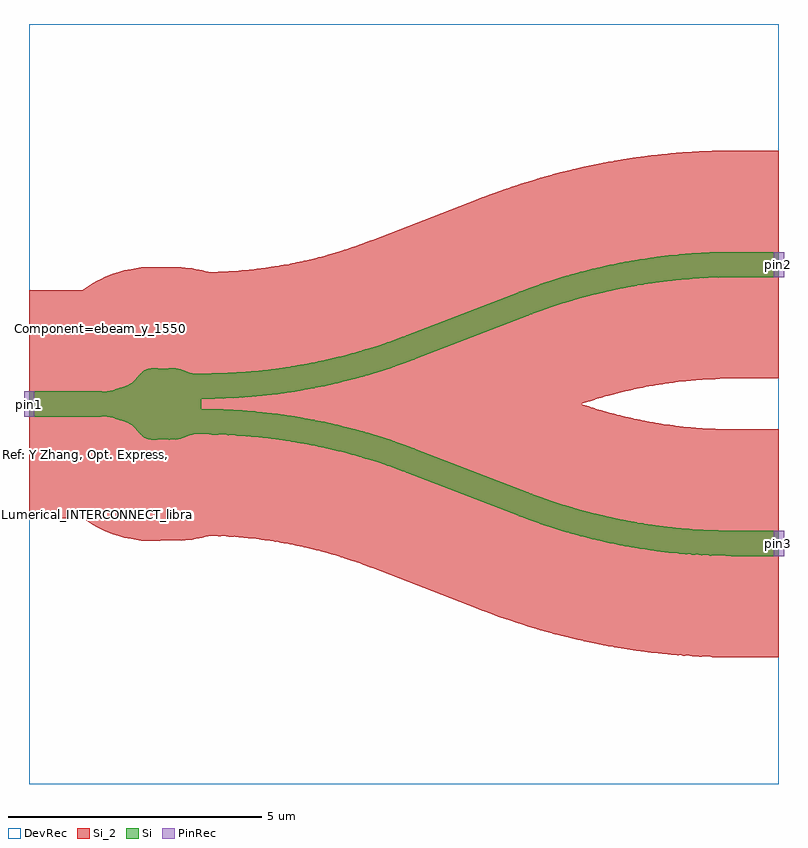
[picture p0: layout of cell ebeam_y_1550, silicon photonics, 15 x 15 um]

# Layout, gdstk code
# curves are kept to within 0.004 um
import gdstk
lib = gdstk.Library(unit=1e-6, precision=1e-09)
def R(c, l, rs):  # rectangles x0, y0, x1, y1
    for r in rs: c.add(gdstk.rectangle(r[:2], r[2:], *l))
def P(c, l, *ps):  # polygons
    for p in ps: c.add(gdstk.Polygon(p, *l))
Si = (1, 0)
Si_2 = (1, 2)
PinRec = (1, 10)
DevRec = (68, 0)

ebeam_y_1550 = lib.new_cell('ebeam_y_1550')
P(ebeam_y_1550, Si, [(6.458,-3),(6.065,-2.992),(5.718,-2.974),(5.406,-2.949),(4.993,-2.903),(4.653,-2.854),(4.257,-2.784),(3.875,-2.703),(3.509,-2.613),(3.017,-2.472),(2.491,-2.295),(0.055,-1.356),(-0.369,-1.202),(-0.762,-1.076),(-1.123,-0.974),(-1.458,-0.891),(-1.826,-0.812),(-2.243,-0.738),(-2.677,-0.678),(-3.125,-0.634),(-3.601,-0.607),(-4.123,-0.595),(-4.206,-0.609),(-4.387,-0.674),(-4.492,-0.699),(-4.991,-0.701),(-5.077,-0.683),(-5.145,-0.647),(-5.204,-0.594),(-5.344,-0.44),(-5.434,-0.378),(-5.536,-0.338),(-5.833,-0.25),(-5.883,-0.245),(-5.999,-0.25),(-7.4,-0.25),(-7.4,0.25),(-5.999,0.25),(-5.926,0.245),(-5.833,0.25),(-5.536,0.338),(-5.434,0.378),(-5.344,0.44),(-5.204,0.594),(-5.145,0.647),(-5.077,0.683),(-4.991,0.701),(-4.492,0.699),(-4.387,0.674),(-4.206,0.609),(-4.123,0.595),(-3.63,0.606),(-3.192,0.629),(-2.792,0.665),(-2.334,0.724),(-1.909,0.796),(-1.532,0.874),(-1.192,0.956),(-0.836,1.054),(-0.513,1.154),(-0.016,1.329),(2.555,2.318),(2.863,2.423),(3.203,2.528),(3.509,2.613),(3.81,2.688),(4.257,2.784),(4.653,2.854),(5.064,2.912),(5.507,2.958),(5.868,2.983),(6.233,2.997),(7.4,3),(7.4,2.5),(6.283,2.498),(5.979,2.488),(5.678,2.47),(5.292,2.435),(4.959,2.394),(4.574,2.334),(4.193,2.261),(3.799,2.171),(3.512,2.096),(3.18,1.999),(2.869,1.898),(2.445,1.744),(0.031,0.813),(-0.517,0.628),(-1.009,0.487),(-1.34,0.405),(-1.757,0.316),(-2.153,0.246),(-2.493,0.197),(-2.906,0.151),(-3.249,0.124),(-3.623,0.106),(-4,0.1),(-4,-0.1),(-3.565,-0.108),(-3.16,-0.13),(-2.794,-0.162),(-2.381,-0.212),(-1.968,-0.277),(-1.565,-0.355),(-1.09,-0.466),(-0.72,-0.567),(-0.263,-0.71),(0.088,-0.834),(2.445,-1.744),(2.785,-1.869),(3.075,-1.966),(3.437,-2.075),(3.731,-2.154),(4.032,-2.226),(4.414,-2.305),(4.814,-2.373),(5.194,-2.424),(5.575,-2.462),(5.958,-2.487),(6.283,-2.498),(7.4,-2.5),(7.4,-3)])
P(ebeam_y_1550, Si_2, [(6.458,-5),(6.04,-4.993),(5.698,-4.977),(5.251,-4.944),(4.86,-4.903),(4.349,-4.831),(3.928,-4.758),(3.351,-4.635),(2.956,-4.536),(2.432,-4.385),(2.055,-4.262),(1.723,-4.144),(-0.699,-3.209),(-1.029,-3.09),(-1.345,-2.989),(-1.643,-2.905),(-2.151,-2.786),(-2.572,-2.711),(-3.017,-2.652),(-3.356,-2.622),(-3.76,-2.603),(-3.846,-2.602),(-4.113,-2.664),(-4.392,-2.701),(-5.174,-2.699),(-5.388,-2.664),(-5.522,-2.635),(-5.636,-2.605),(-5.898,-2.51),(-6.143,-2.382),(-6.234,-2.327),(-6.341,-2.25),(-7.4,-2.25),(-7.4,2.25),(-6.341,2.25),(-6.234,2.327),(-6.143,2.382),(-5.898,2.51),(-5.636,2.605),(-5.522,2.635),(-5.388,2.664),(-5.174,2.699),(-4.392,2.701),(-4.179,2.675),(-3.985,2.637),(-3.846,2.602),(-3.796,2.602),(-3.356,2.622),(-3.001,2.654),(-2.619,2.704),(-2.269,2.763),(-2.003,2.818),(-1.716,2.886),(-1.427,2.965),(-1.127,3.057),(-0.751,3.189),(1.802,4.173),(2.127,4.286),(2.517,4.411),(2.926,4.528),(3.351,4.635),(3.897,4.752),(4.331,4.828),(4.86,4.903),(5.251,4.944),(5.698,4.977),(6.16,4.996),(7.4,5),(7.4,0.5),(6.456,0.5),(6.159,0.494),(5.75,0.47),(5.284,0.42),(4.9,0.361),(4.427,0.265),(3.976,0.149),(3.501,0),(3.989,-0.153),(4.427,-0.265),(4.9,-0.361),(5.284,-0.42),(5.75,-0.47),(6.159,-0.494),(6.476,-0.5),(7.4,-0.5),(7.4,-5)])
R(ebeam_y_1550, DevRec, [(-7.4,-7.5,7.4,7.5)])
ebeam_y_1550.add(gdstk.FlexPath([(7.3,2.75),(7.5,2.75)], 0.5, ends="flush", simple_path=True, layer=1, datatype=10))  # PinRec
ebeam_y_1550.add(gdstk.FlexPath([(7.3,-2.75),(7.5,-2.75)], 0.5, ends="flush", simple_path=True, layer=1, datatype=10))  # PinRec
ebeam_y_1550.add(gdstk.FlexPath([(-7.3,0),(-7.5,0)], 0.5, ends="flush", simple_path=True, layer=1, datatype=10))  # PinRec
ebeam_y_1550.add(gdstk.Label('Ref: Y Zhang, Opt. Express, 21/1, 2013', (-7.5,-1), layer=10, texttype=0))
ebeam_y_1550.add(gdstk.Label('pin2', (7.4,2.75), layer=1, texttype=10))
ebeam_y_1550.add(gdstk.Label('pin3', (7.4,-2.75), layer=1, texttype=10))
ebeam_y_1550.add(gdstk.Label('pin1', (-7.4,0), layer=1, texttype=10))
ebeam_y_1550.add(gdstk.Label('Component=ebeam_y_1550', (-6,1.5), layer=68, texttype=0))
ebeam_y_1550.add(gdstk.Label('Lumerical_INTERCONNECT_library=Design kits/ebeam', (-6.86,-2.19), layer=68, texttype=0))

lib.write_gds('ebeam_y_1550.gds')
